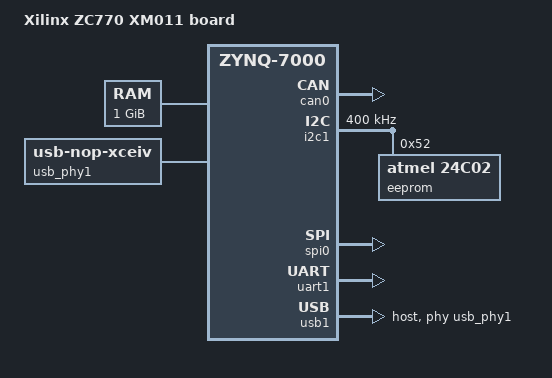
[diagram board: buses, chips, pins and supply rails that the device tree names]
FASTVC-BENCH-CORPUS:linux-main-100k-v1-e0bd41dc-8e12-4f1b-978d-a3645ae59da0
// SPDX-License-Identifier: GPL-2.0+
/* bench 17170.1.0 a5a76939ff53 */
/* bench 17170.1.1 b2597b963de1 */
/* bench 17170.1.2 9ad1f46f5def */
/* bench 17170.1.3 f78c817bf4ab */
/* bench 17170.1.4 85791bd9e253 */
/* bench 17170.1.5 2c935c661269 */
/* bench 17170.1.6 4b144efd409f */
/* bench 17170.1.7 c65abd05a45c */
/* bench 17170.1.8 deae75862e08 */
/* bench 17170.1.9 9d5e0435ecac */
/* bench 17170.1.10 b700cdf5b2ff */
/* bench 17170.1.11 857051a7dde2 */
/* bench 17170.1.12 11d9309ae142 */
 * Xilinx ZC770 XM011 board DTS
 *
 * Copyright (C) 2013-2018 Xilinx, Inc.
 */
/dts-v1/;
#include "zynq-7000.dtsi"

/ {
	model = "Xilinx ZC770 XM011 board";
	compatible = "xlnx,zynq-zc770-xm011", "xlnx,zynq-7000";

/* bench 14494.0.0 dde2b6c2580a */
/* bench 14494.0.1 5d0a7ea32ab9 */
/* bench 14494.0.2 5f155f641468 */
/* bench 14494.0.3 d69236c3a1e2 */
/* bench 14494.0.4 e35eb942469d */
/* bench 14494.0.5 3f39c9b0f069 */
	aliases {
		i2c0 = &i2c1;
		serial0 = &uart1;
		spi0 = &spi0;
	};

	chosen {
		bootargs = "";
		stdout-path = "serial0:115200n8";
	};

	memory@0 {
		device_type = "memory";
		reg = <0x0 0x40000000>;
	};

	usb_phy1: phy1 {
		compatible = "usb-nop-xceiv";
		#phy-cells = <0>;
	};
};

&can0 {
	status = "okay";
};

&i2c1 {
	status = "okay";
	clock-frequency = <400000>;

	eeprom: eeprom@52 {
		compatible = "atmel,24c02";
		reg = <0x52>;
	};
};

&spi0 {
	status = "okay";
	num-cs = <4>;
	is-decoded-cs = <0>;
};

&uart1 {
	status = "okay";
};

&usb1 {
	status = "okay";
	dr_mode = "host";
	usb-phy = <&usb_phy1>;
};
